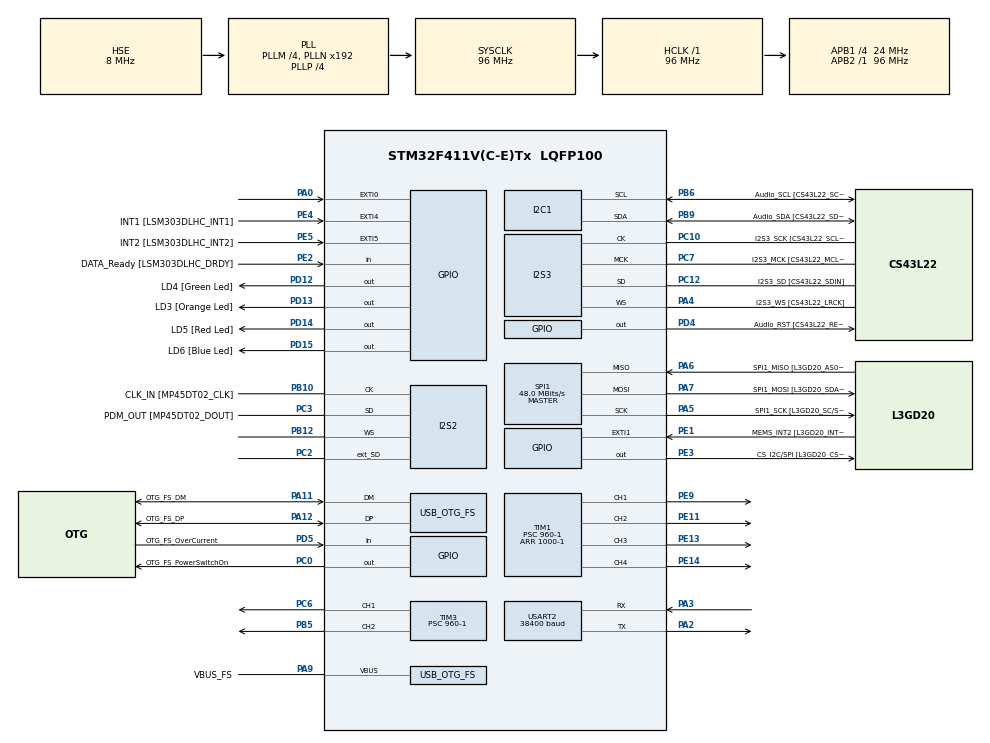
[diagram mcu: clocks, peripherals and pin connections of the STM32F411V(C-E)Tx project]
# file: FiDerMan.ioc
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PD12.GPIO_Label=LD4 [Green Led]
SH.S_TIM1_CH4.0=TIM1_CH4,PWM Generation4 CH4
PC10.GPIO_PuPd=GPIO_NOPULL
SPI1.VirtualType=VM_MASTER
PB10.Mode=Full_Duplex_Master
PC12.Signal=I2S3_SD
PA14.GPIO_Label=SWCLK
PA6.GPIO_Label=SPI1_MISO [L3GD20_AS0/SDO]
PB6.GPIO_Label=Audio_SCL [CS43L22_SCL]
PC15-OSC32_OUT.GPIO_Label=PC15-OSC32_OUT
RCC.SYSCLKSource=RCC_SYSCLKSOURCE_PLLCLK
PD14.GPIO_Speed=GPIO_SPEED_FREQ_LOW
PA4.Mode=Half_Duplex_Master
SPI1.Direction=SPI_DIRECTION_2LINES
RCC.APB2TimFreq_Value=96000000
PD4.Signal=GPIO_Output
PB6.Signal=I2C1_SCL
PC7.Signal=I2S3_MCK
PB6.Mode=I2C
SPI1.CalculateBaudRate=48.0 MBits/s
PC3.Signal=I2S2_SD
PE5.Signal=GPXTI5
PE1.Signal=GPXTI1
NVIC.TIM1_TRG_COM_TIM11_IRQn=true\:0\:0\:false\:false\:true\:true\:true
USB_OTG_FS.phy_itface=HCD_PHY_EMBEDDED
I2S3.ErrorAudioFreq=-6.99 %
TIM1.Channel-PWM\ Generation1\ CH1=TIM_CHANNEL_1
PE9.Signal=S_TIM1_CH1
PE4.GPIO_Label=INT1 [LSM303DLHC_INT1]
PE2.Signal=GPIO_Input
PD14.GPIO_PuPd=GPIO_NOPULL
VP_TIM1_VS_ClockSourceINT.Mode=Internal
Mcu.Package=LQFP100
PB9.Signal=I2C1_SDA
PD12.Signal=GPIO_Output
PA10.Signal=USB_OTG_FS_ID
PB9.GPIO_PuPd=GPIO_NOPULL
RCC.APB1TimFreq_Value=48000000
TIM1.Period=1000-1
PC12.GPIO_PuPd=GPIO_NOPULL
PA4.GPIO_Label=I2S3_WS [CS43L22_LRCK]
PD15.Signal=GPIO_Output
PC0.PinState=GPIO_PIN_SET
PA5.Mode=Full_Duplex_Master
I2S2.AudioFreq=I2S_AUDIOFREQ_96K
I2S3.FullDuplexMode=I2S_FULLDUPLEXMODE_DISABLE
PA9.GPIO_Label=VBUS_FS
PB6.GPIO_PuPd=GPIO_NOPULL
PH1\ -\ OSC_OUT.Mode=HSE-External-Oscillator
PC6.Signal=S_TIM3_CH1
PC2.Signal=I2S2_ext_SD
PA11.GPIO_Label=OTG_FS_DM
PC0.Signal=GPIO_Output
RCC.APB1CLKDivider=RCC_HCLK_DIV4
PC14-OSC32_IN.Signal=RCC_OSC32_IN
USART2.BaudRate=38400
PA0-WKUP.GPIO_ModeDefaultEXTI=GPIO_MODE_EVT_RISING
PA0-WKUP.Signal=GPXTI0
USB_HOST0.BSP.STBoard=false
PA3.Mode=Asynchronous
TIM1.AutoReloadPreload=TIM_AUTORELOAD_PRELOAD_ENABLE
PC10.GPIO_Mode=GPIO_MODE_AF_PP
PE5.GPIO_ModeDefaultEXTI=GPIO_MODE_EVT_RISING
PA9.Signal=USB_OTG_FS_VBUS
I2S2.VirtualMode=I2S_MODE_MASTER
TIM1.Channel-PWM\ Generation2\ CH2=TIM_CHANNEL_2
I2S3.VirtualMode=I2S_MODE_MASTER
PC7.GPIO_PuPd=GPIO_NOPULL
PB10.Signal=I2S2_CK
PA5.Signal=SPI1_SCK
I2S3.AudioFreq=I2S_AUDIOFREQ_96K
PC12.Mode=Half_Duplex_Master
PH1\ -\ OSC_OUT.Signal=RCC_OSC_OUT
PE1.GPIO_Label=MEMS_INT2 [L3GD20_INT2]
USB_HOST.VirtualModeFS=Cdc
NVIC.TIM3_IRQn=true\:0\:0\:false\:false\:true\:true\:true
PE14.Signal=S_TIM1_CH4
SPI1.Mode=SPI_MODE_MASTER
PA13.Mode=Serial_Wire
NVIC.TIM1_BRK_TIM9_IRQn=true\:0\:0\:false\:false\:true\:true\:true
I2S2.FullDuplexMode=I2S_FULLDUPLEXMODE_ENABLE
NVIC.TIM1_CC_IRQn=true\:0\:0\:false\:false\:true\:true\:true
PC7.GPIO_Label=I2S3_MCK [CS43L22_MCLK]
PA4.Signal=I2S3_WS
PC12.GPIO_Mode=GPIO_MODE_AF_PP
PB5.Signal=S_TIM3_CH2
PA5.GPIO_Label=SPI1_SCK [L3GD20_SC/SPC]
PE5.GPIO_Label=INT2 [LSM303DLHC_INT2]
PC12.GPIO_Label=I2S3_SD [CS43L22_SDIN]
PA11.Signal=USB_OTG_FS_DM
ProjectManager.HeapSize=0x200
NVIC.TIM1_UP_TIM10_IRQn=true\:0\:0\:false\:false\:true\:true\:true
USB_HOST.USBH_HandleTypeDef=hUsbHostFS
NVIC.PriorityGroup=NVIC_PRIORITYGROUP_0
TIM3.Channel-PWM\ Generation2\ CH2=TIM_CHANNEL_2
PE3.Signal=GPIO_Output
PC3.GPIO_Label=PDM_OUT [MP45DT02_DOUT]
I2S3.Instance=SPI$Index
TIM1.Channel-PWM\ Generation3\ CH3=TIM_CHANNEL_3
PB6.GPIO_Speed=GPIO_SPEED_FREQ_LOW
USB_HOST0.BSP.mode=Output
Mcu.Family=STM32F4
PC3.Mode=Full_Duplex_Master
PA6.Mode=Full_Duplex_Master
RCC.CortexFreq_Value=96000000
PB6.GPIO_Mode=GPIO_MODE_AF_OD
PD15.GPIO_Speed=GPIO_SPEED_FREQ_LOW
PC10.Signal=I2S3_CK
PC0.GPIO_Label=OTG_FS_PowerSwitchOn
PA11.Mode=Host_Only
PC10.GPIO_Speed=GPIO_SPEED_FREQ_LOW
ProjectManager.StackSize=0x400
PD13.Signal=GPIO_Output
PA12.Signal=USB_OTG_FS_DP
TIM1.Prescaler=960-1
PH0\ -\ OSC_IN.Signal=RCC_OSC_IN
TIM1.Channel-PWM\ Generation4\ CH4=TIM_CHANNEL_4
RCC.HCLKFreq_Value=96000000
TIM3.Period=1000-1
USB_HOST0.BSP.ip=GPIO
RCC.AHBFreq_Value=96000000
TIM3.Channel-PWM\ Generation1\ CH1=TIM_CHANNEL_1
RCC.HSE_VALUE=8000000
PA4.GPIO_PuPd=GPIO_NOPULL
PA4.GPIO_Speed=GPIO_SPEED_FREQ_LOW
PE13.Signal=S_TIM1_CH3
PC14-OSC32_IN.Mode=LSE-External-Oscillator
PA14.Mode=Serial_Wire
TIM3.Prescaler=960-1
PA10.GPIO_Label=OTG_FS_ID
PC7.GPIO_Mode=GPIO_MODE_AF_PP
SH.S_TIM3_CH1.0=TIM3_CH1,PWM Generation1 CH1
USB_HOST0.BSP.i2creg=0
PE4.Signal=GPXTI4
USB_HOST0.BSP.i2caddr=0
PD13.GPIO_Label=LD3 [Orange Led]
PA6.Signal=SPI1_MISO
PB12.Mode=Full_Duplex_Master
USART2.VirtualMode=VM_ASYNC
PD5.GPIO_Label=OTG_FS_OverCurrent
NVIC.OTG_FS_IRQn=true\:0\:0\:false\:false\:true\:true\:true
PD15.GPIO_PuPd=GPIO_NOPULL
USB_OTG_FS.VirtualMode=Host_Only
USB_HOST0.BSP.name=Drive_VBUS_FS
PB9.GPIO_Speed=GPIO_SPEED_FREQ_LOW
PC14-OSC32_IN.GPIO_Label=PC14-OSC32_IN
SPI1.BaudRatePrescaler=SPI_BAUDRATEPRESCALER_2
PE2.GPIO_Label=DATA_Ready [LSM303DLHC_DRDY]
VP_TIM3_VS_ClockSourceINT.Mode=Internal
PA3.Signal=USART2_RX
PB3.GPIO_Label=SWO
PC15-OSC32_OUT.Mode=LSE-External-Oscillator
PD12.GPIO_Speed=GPIO_SPEED_FREQ_LOW
PD15.GPIO_Label=LD6 [Blue Led]
PA7.Mode=Full_Duplex_Master
I2S2.Instance=SPI$Index
PB9.GPIO_Label=Audio_SDA [CS43L22_SDA]
PC10.GPIO_Label=I2S3_SCK [CS43L22_SCLK]
USB_HOST0.BSP.solution=PC0
PC10.Mode=Half_Duplex_Master
USB_HOST.BSP.number=1
PE4.GPIO_ModeDefaultEXTI=GPIO_MODE_EVT_RISING
PC2.Mode=Full_Duplex_Master
PD5.Signal=GPIO_Input
PE1.GPIO_ModeDefaultEXTI=GPIO_MODE_EVT_RISING
NVIC.USART2_IRQn=true\:0\:0\:false\:false\:true\:true\:true
PA12.GPIO_Label=OTG_FS_DP
PA13.Signal=SYS_JTMS-SWDIO
PA9.Mode=Activate_VBUS
PH0\ -\ OSC_IN.Mode=HSE-External-Oscillator
SH.S_TIM1_CH1.0=TIM1_CH1,PWM Generation1 CH1
ProjectManager.TargetToolchain=STM32CubeIDE
PB10.GPIO_Label=CLK_IN [MP45DT02_CLK]
PB9.Mode=I2C
PE11.Signal=S_TIM1_CH2
PC15-OSC32_OUT.Signal=RCC_OSC32_OUT
SH.S_TIM3_CH2.0=TIM3_CH2,PWM Generation2 CH2
board=STM32F411E-DISCO
PD13.GPIO_Speed=GPIO_SPEED_FREQ_LOW
PC7.GPIO_Speed=GPIO_SPEED_FREQ_LOW
RCC.VCOOutputFreq_Value=384000000
PB9.GPIO_Mode=GPIO_MODE_AF_OD
PA4.GPIO_Mode=GPIO_MODE_AF_PP
RCC.APB2Freq_Value=96000000
USB_HOST0.BSP.api=Unknown
SH.S_TIM1_CH2.0=TIM1_CH2,PWM Generation2 CH2
PD4.GPIO_Label=Audio_RST [CS43L22_RESET]
PD13.GPIO_PuPd=GPIO_NOPULL
PD14.GPIO_Label=LD5 [Red Led]
Mcu.Name=STM32F411V(C-E)Tx
PA2.Signal=USART2_TX
PA13.GPIO_Label=SWDIO
PD14.Signal=GPIO_Output
PH1\ -\ OSC_OUT.GPIO_Label=PH1-OSC_OUT
RCC.48MHZClocksFreq_Value=48000000
PB3.Signal=SYS_JTDO-SWO
RCC.SYSCLKFreq_VALUE=96000000
PA7.GPIO_Label=SPI1_MOSI [L3GD20_SDA/SDI/SDO]
PA12.Mode=Host_Only
I2S2.ErrorAudioFreq=0.15 %
VP_USB_HOST_VS_USB_HOST_CDC_FS.Mode=CDC_FS
PA14.Signal=SYS_JTCK-SWCLK
SH.S_TIM1_CH3.0=TIM1_CH3,PWM Generation3 CH3
RCC.HSI_VALUE=16000000
RCC.PLLP=RCC_PLLP_DIV4
RCC.PLLQ=8
I2S3.RealAudioFreq=89.285 KHz
RCC.PLLM=4
PA2.Mode=Asynchronous
PE3.GPIO_Label=CS_I2C/SPI [L3GD20_CS_I2C/SPI]
PH0\ -\ OSC_IN.GPIO_Label=PH0-OSC_IN
PC7.Mode=Master_Clock_Activated
RCC.APB1Freq_Value=24000000
PC12.GPIO_Speed=GPIO_SPEED_FREQ_LOW
I2S2.RealAudioFreq=96.153 KHz
RCC.PLLI2SN=200
PB12.Signal=I2S2_WS
PD12.GPIO_PuPd=GPIO_NOPULL
RCC.PLLI2SM=5
PA7.Signal=SPI1_MOSI
USB_HOST0.BSP.instance=PC0

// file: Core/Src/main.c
/* USER CODE BEGIN Header */
/**
  ******************************************************************************
  * @file           : main.c
  * @brief          : Main program body
  ******************************************************************************
  * @attention
  *
  * <h2><center>&copy; Copyright (c) 2021 STMicroelectronics.
  * All rights reserved.</center></h2>
  *
  * This software component is licensed by ST under Ultimate Liberty license
  * SLA0044, the "License"; You may not use this file except in compliance with
  * the License. You may obtain a copy of the License at:
  *                             www.st.com/SLA0044
  *
  ******************************************************************************
  */
/* USER CODE END Header */
#include "main.h"
#include "i2c.h"
#include "i2s.h"
#include "spi.h"
#include "tim.h"
#include "usart.h"
#include "usb_host.h"
#include "gpio.h"
#include <stdbool.h>

/* USER CODE BEGIN PV */
uint8_t znak;
//uint8_t info_zwrotna[50];
//uint16_t dlugosc_info;

uint8_t flag=0;
/* USER CODE END PV */

void SystemClock_Config(void);
void MX_USB_HOST_Process(void);

/* USER CODE BEGIN 0 */
void HAL_UART_RxCpltCallback(UART_HandleTypeDef *huart)
{
	if(huart->Instance == USART2)
	{
		//tryby servo baza
		if(znak=='a')
		{
			flag=1;
		}
		else if(znak=='b')
		{
			flag=2;
		}
		else if(znak=='c')
		{
			flag=3;
		}

		else if(znak=='d')
		{
			flag=4;
		}

		//tryby servo kolanko
		if(znak=='e')
		{
			flag=5;
		}
		else if(znak=='f')
		{
			flag=6;
		}
		else if(znak=='g')
		{
			flag=7;
		}
		else if(znak=='h')
		{
			flag=8;
		}

		//tryby servo lokiec
		if(znak=='i')
		{
			flag=9;
		}
		else if(znak=='j')
		{
			flag=10;
		}
		else if(znak=='k')
		{
			flag=11;
		}
		else if(znak=='l')
		{
			flag=12;
		}

		//tryby servo przedramie
		if(znak=='m')
		{
			flag=13;
		}
		else if(znak=='n')
		{
			flag=14;
		}
		else if(znak=='o')
		{
			flag=15;
		}
		else if(znak=='p')
		{
			flag=16;
		}

		//tryby servo nadgarstek
		if(znak=='r')
		{
			flag=17;
		}
		else if(znak=='s')
		{
			flag=18;
		}
		else if(znak=='t')
		{
			flag=19;
		}
		else if(znak=='u')
		{
			flag=20;
		}

		//tryby servo palce
		if(znak=='w')//zamkniete
		{
			flag=21;
		}
		else if(znak=='x')//szeroko
		{
			flag=22;
		}
		else if(znak=='y')
		{
			flag=23;
		}
		else if(znak=='z')
		{
			flag=24;
		}

		HAL_UART_Receive_IT(&huart2, &znak, 1);

	}
}
/* USER CODE END 0 */

int main(void)
{

  /* MCU Configuration--------------------------------------------------------*/

  /* Reset of all peripherals, Initializes the Flash interface and the Systick. */
  HAL_Init();

  /* Configure the system clock */
  SystemClock_Config();

  /* Initialize all configured peripherals */
  MX_GPIO_Init();
  MX_I2C1_Init();
  MX_I2S2_Init();
  MX_I2S3_Init();
  MX_SPI1_Init();
  MX_USB_HOST_Init();
  MX_TIM1_Init();
  MX_TIM3_Init();
  MX_USART2_UART_Init();
  /* USER CODE BEGIN 2 */
  HAL_UART_Receive_IT(&huart2, &znak, 1);
  HAL_TIM_PWM_Start(&htim1, TIM_CHANNEL_1);
  HAL_TIM_PWM_Start(&htim1, TIM_CHANNEL_2);
  HAL_TIM_PWM_Start(&htim1, TIM_CHANNEL_3);
  HAL_TIM_PWM_Start(&htim1, TIM_CHANNEL_4);
  HAL_TIM_PWM_Start(&htim3, TIM_CHANNEL_1);
  HAL_TIM_PWM_Start(&htim3, TIM_CHANNEL_2);
  /* USER CODE END 2 */

  /* Infinite loop */
  while (1)
  {
    MX_USB_HOST_Process();

    /* USER CODE BEGIN 3 */
    //serwo baza
    if(flag==1)//prawo
    {
    	htim1.Instance->CCR1=75;
    	HAL_Delay(1000);
    }

    if(flag==2) //lewo
    {
    	htim1.Instance->CCR1=125;
    	HAL_Delay(1000);

    }

    if(flag==3)//auto
    {
    	htim1.Instance->CCR1=75;
    	HAL_Delay(1000);

    	htim1.Instance->CCR1=125;
    	HAL_Delay(1000);
    }

    if(flag==4)//stop
    {
    	htim1.Instance->CCR1=25;
    	HAL_Delay(1000);
    }

    //serwo kolanko
    if(flag==5)//przod
    {
    	htim1.Instance->CCR2=75;
    	HAL_Delay(1000);
    }

    if(flag==6)//tyl
    {
    	htim1.Instance->CCR2=125;
    	HAL_Delay(1000);
    }

    if(flag==7)//auto
    {
    	htim1.Instance->CCR2=75;
        HAL_Delay(1000);

        htim1.Instance->CCR2=125;
        HAL_Delay(1000);
    }

    if(flag==8)//stop
    {
        htim1.Instance->CCR2=25;
        HAL_Delay(1000);
    }

    //serwo lokiec
    if(flag==9)//tyl
    {
    	htim1.Instance->CCR3=75;
    	HAL_Delay(1000);
    }

    if(flag==10)//przod
    {
    	htim1.Instance->CCR3=125;
    	HAL_Delay(1000);
    }

    if(flag==11)//auto
    {
    	htim1.Instance->CCR3=75;
        HAL_Delay(1000);

        htim1.Instance->CCR3=125;
        HAL_Delay(1000);
    }

    if(flag==12)//stop
    {
        htim1.Instance->CCR3=25;
        HAL_Delay(1000);
    }

    //serwo przedramie
    if(flag==13)//lewo
    {
        htim1.Instance->CCR4=75;
        HAL_Delay(1000);
    }

    if(flag==14)//prawo
    {
    	htim1.Instance->CCR4=125;
    	HAL_Delay(1000);
    }

    if(flag==15)//auto
    {
    	htim1.Instance->CCR4=75;
    	HAL_Delay(1000);

    	htim1.Instance->CCR4=125;
    	HAL_Delay(1000);
    }

    if(flag==16)//stop
    {
    	htim1.Instance->CCR4=25;
    	HAL_Delay(1000);
    }

    //serwo nadgarstek
    if(flag==17)//dol
    {
        htim3.Instance->CCR1=75;
        HAL_Delay(1000);
    }

    if(flag==18)//góra
    {
    	htim3.Instance->CCR1=125;
    	HAL_Delay(1000);
    }

    if(flag==19)//auto
    {
    	htim3.Instance->CCR1=75;
    	HAL_Delay(1000);

    	htim3.Instance->CCR1=125;
    	HAL_Delay(1000);
    }

    if(flag==20)
    {
    	htim3.Instance->CCR1=25;
    	HAL_Delay(1000);
    }

    //serwo palce
    if(flag==21)
    {
        htim3.Instance->CCR2=75;
        HAL_Delay(1000);
    }

    if(flag==22)
    {
       htim3.Instance->CCR2=125;
       HAL_Delay(1000);
    }

    if(flag==23)//auto
    {
    	htim3.Instance->CCR2=75;
        HAL_Delay(1000);

        htim3.Instance->CCR2=125;
        HAL_Delay(1000);
    }

     if(flag==24)
     {
        htim3.Instance->CCR2=25;
        HAL_Delay(1000);
     }

    /* int poczatkowa_pozycja=75;
     * if(servo=='s1')
    {
    	int nowa_pozycja_serva;
    	if(poczatkowa_pozycja<nowa_pozycja_serva)
    	{
    		for(int i=poczatkowa_pozycja; i<=nowa_pozycja_serva;i++)
    		{
    			htim1.Instance->CCR1=i;
    			HAL_Delay(100);
    		}
    	}
    	HAL_Delay(1000);
    			//htim1.Instance->CCR1=poczatkowa_pozycja;
    			//poczatkowa_pozycja++;
    			//HAL_Delay(100);
    		//}
    	if(poczatkowa_pozycja>nowa_pozycja_serva)
    	{
    		for(int i=poczatkowa_pozycja; i>=nowa_pozycja_serva;i--)
    		{
    			htim1.Instance->CCR1=i;
    			HAL_Delay(100);
    		}
    		HAL_Delay(1000);
    	}
    	poczatkowa_pozycja=nowa_pozycja_serva;
    }*/
  }
  /* USER CODE END 3 */
}

void SystemClock_Config(void)
{
  RCC_OscInitTypeDef RCC_OscInitStruct = {0};
  RCC_ClkInitTypeDef RCC_ClkInitStruct = {0};
  RCC_PeriphCLKInitTypeDef PeriphClkInitStruct = {0};

  /** Configure the main internal regulator output voltage
  */
  __HAL_RCC_PWR_CLK_ENABLE();
  __HAL_PWR_VOLTAGESCALING_CONFIG(PWR_REGULATOR_VOLTAGE_SCALE1);
  /** Initializes the RCC Oscillators according to the specified parameters
  * in the RCC_OscInitTypeDef structure.
  */
  RCC_OscInitStruct.OscillatorType = RCC_OSCILLATORTYPE_HSE;
  RCC_OscInitStruct.HSEState = RCC_HSE_ON;
  RCC_OscInitStruct.PLL.PLLState = RCC_PLL_ON;
  RCC_OscInitStruct.PLL.PLLSource = RCC_PLLSOURCE_HSE;
  RCC_OscInitStruct.PLL.PLLM = 4;
  RCC_OscInitStruct.PLL.PLLN = 192;
  RCC_OscInitStruct.PLL.PLLP = RCC_PLLP_DIV4;
  RCC_OscInitStruct.PLL.PLLQ = 8;
  if (HAL_RCC_OscConfig(&RCC_OscInitStruct) != HAL_OK)
  {
    Error_Handler();
  }
  /** Initializes the CPU, AHB and APB buses clocks
  */
  RCC_ClkInitStruct.ClockType = RCC_CLOCKTYPE_HCLK|RCC_CLOCKTYPE_SYSCLK
                              |RCC_CLOCKTYPE_PCLK1|RCC_CLOCKTYPE_PCLK2;
  RCC_ClkInitStruct.SYSCLKSource = RCC_SYSCLKSOURCE_PLLCLK;
  RCC_ClkInitStruct.AHBCLKDivider = RCC_SYSCLK_DIV1;
  RCC_ClkInitStruct.APB1CLKDivider = RCC_HCLK_DIV4;
  RCC_ClkInitStruct.APB2CLKDivider = RCC_HCLK_DIV1;

  if (HAL_RCC_ClockConfig(&RCC_ClkInitStruct, FLASH_LATENCY_3) != HAL_OK)
  {
    Error_Handler();
  }
  PeriphClkInitStruct.PeriphClockSelection = RCC_PERIPHCLK_I2S;
  PeriphClkInitStruct.PLLI2S.PLLI2SN = 200;
  PeriphClkInitStruct.PLLI2S.PLLI2SM = 5;
  PeriphClkInitStruct.PLLI2S.PLLI2SR = 2;
  if (HAL_RCCEx_PeriphCLKConfig(&PeriphClkInitStruct) != HAL_OK)
  {
    Error_Handler();
  }
}

/* USER CODE BEGIN 4 */
/*void HAL_UART_RxCpltCallback(UART_HandleTypeDef *huart)
{
	if(huart->Instance == USART2)
	{
		if(znak=='1')
		{
			HAL_GPIO_WritePin(LD6_GPIO_Port, LD6_Pin, GPIO_PIN_SET);
			sprintf(info_zwrotna, "on\n");
			dlugosc_info=2;
		}
		else if(znak=='2')
		{
			HAL_GPIO_WritePin(LD6_GPIO_Port, LD6_Pin, GPIO_PIN_RESET);
			sprintf(info_zwrotna, "off\n");
			dlugosc_info=3;
		}
		HAL_UART_Receive_IT(&huart2, &znak, 1);
		HAL_UART_Transmit_IT(&huart2, &info_zwrotna, dlugosc_info);
	}
}*/
/* USER CODE END 4 */

void Error_Handler(void)
{
  __disable_irq();
  while (1)
  {
  }
}

/************************ (C) COPYRIGHT STMicroelectronics *****END OF FILE****/
